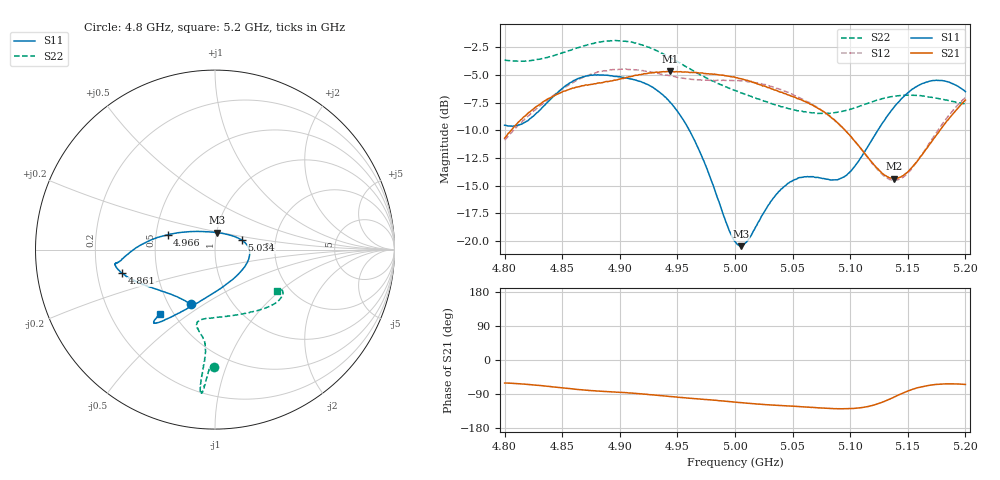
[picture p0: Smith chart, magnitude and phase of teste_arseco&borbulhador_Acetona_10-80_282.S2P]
! Network Analyzer HP8722D
! Hewlett-Packard
! Data name: Linha & Wilkinson
! Saver's name: Rodrigo Anjos
! Comments: Teste da utilização de aquisição
! continua pelo VNA HP8722D
! Time and date: 17/4/2025 16:42
!  Frequency  S11  S21  S12  S22
# HZ  S  MA R 50
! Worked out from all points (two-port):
!   401 points, 4.8 GHz to 5.2 GHz, reference 50 ohm
!   highest |S21| = -4.67 dB at 4.944 GHz (marker M1); lowest = -14.4 dB at 5.138 GHz (marker M2)
!   |S21| within 3 dB of the highest: 4.83 GHz to 5.066 GHz (235.7 MHz wide, 4.76 % of centre); 5.19628 GHz to end of sweep
!   lowest |S11| = -20.5 dB at 5.005 GHz (marker M3), VSWR 1.21, Z = 50.3 + j9.55 ohm
!   |S11| at or under -10 dB: 4.96 GHz to 5.124 GHz (163.6 MHz wide, 3.24 % of centre)
!   |S22| runs from -8.5 to -1.9 dB; largest |S21 - S12| = 0.87
!   S11 on the Smith chart (normalised r, x): 4.8 GHz: 0.65, -0.44; 4.861 GHz: 0.31, -0.11; 4.966 GHz: 0.58, +0.10; 5.034 GHz: 1.34, +0.15; 5.2 GHz: 0.42, -0.39
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4.8e9  0.3332 -113.6  0.2914 -60.8  0.2852 -175.0  0.6564 -90.3
4.819e9  0.3472 -133.5  0.3715 -64.0  0.3603 -173.7  0.6511 -91.8
4.861e9  0.5326 -165.6  0.4928 -77.1  0.5264 -177.0  0.738 -94.1
4.867e9  0.5482 -167.9  0.5023 -78.8  0.5446 -177.9  0.7567 -94.3
4.898e9  0.5523 -172.4  0.5346 -84.9  0.5948 175.7  0.8033 -95.5
4.934e9  0.4726 -178.3  0.5784 -93.5  0.5704 171.6  0.7136 -96.1
4.944e9  0.4213 177.2  0.584 -96.4  0.5562 171.9  0.6731 -95.8
4.966e9  0.2769 162.6  0.5768 -102.0  0.5348 173.8  0.5771 -95.4
5e9  0.09935 100.3  0.5485 -111.4  0.5309 176.2  0.4781 -99.5
5.005e9  0.09478 82.6  0.5405 -112.5  0.5284 176.1  0.4666 -100.5
5.012e9  0.102 59.5  0.528 -114.3  0.5236 175.9  0.4533 -102.0
5.034e9  0.1577 19.7  0.4809 -119.3  0.4945 174.8  0.4137 -103.5
5.05e9  0.1874 3.5  0.4493 -121.9  0.4592 174.1  0.393 -99.4
5.067e9  0.1949 -14.7  0.4123 -124.9  0.4137 173.8  0.3788 -90.4
5.087e9  0.1889 -46.9  0.3495 -128.6  0.3476 173.8  0.3803 -75.2
5.097e9  0.1983 -67.4  0.3105 -128.6  0.3111 174.7  0.3894 -66.9
5.134e9  0.3772 -116.8  0.1929 -103.6  0.1897 -156.5  0.447 -42.9
5.138e9  0.4018 -119.1  0.1911 -97.9  0.1879 -150.1  0.4501 -41.1
5.15e9  0.4664 -124.5  0.2049 -82.0  0.2023 -131.6  0.4555 -36.7
5.17e9  0.5282 -129.1  0.2775 -66.2  0.2831 -112.3  0.4462 -32.1
5.184e9  0.5243 -130.4  0.3488 -63.0  0.3602 -107.1  0.4324 -31.1
5.2e9  0.4727 -130.7  0.433 -64.5  0.4449 -106.6  0.4149 -33.5
